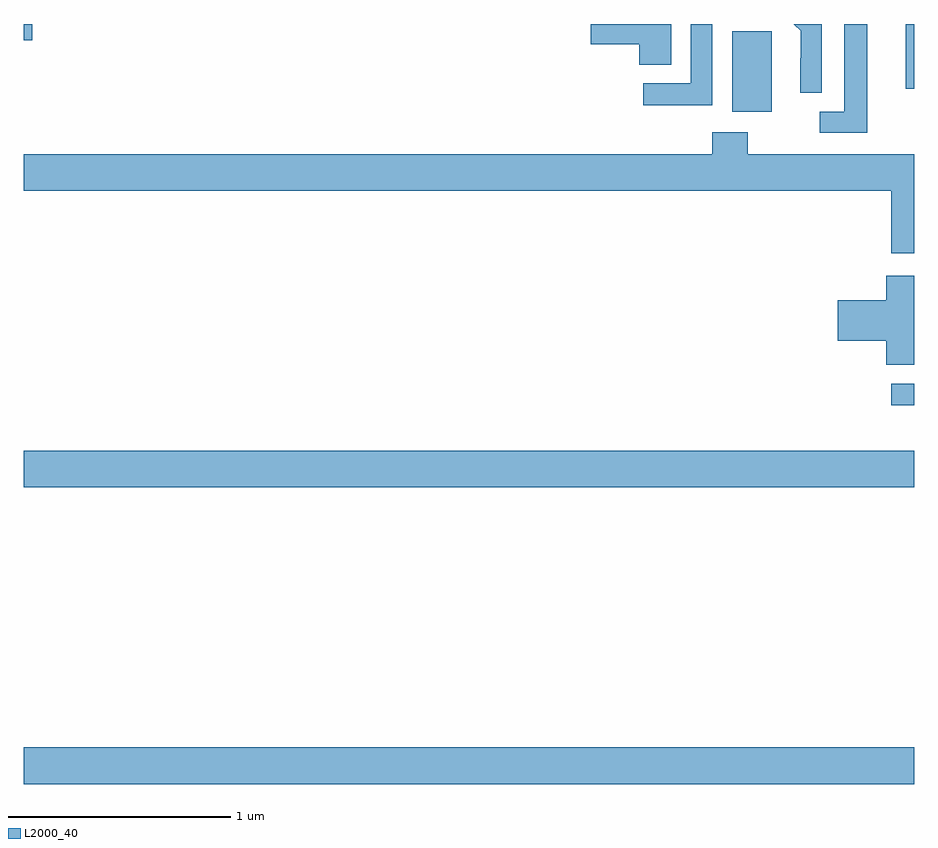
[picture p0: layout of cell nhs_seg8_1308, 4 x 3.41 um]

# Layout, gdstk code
import gdstk
lib = gdstk.Library(unit=1e-6, precision=1e-09)
def R(c, l, rs):  # rectangles x0, y0, x1, y1
    for r in rs: c.add(gdstk.rectangle(r[:2], r[2:], *l))
def P(c, l, *ps):  # polygons
    for p in ps: c.add(gdstk.Polygon(p, *l))
L2000_40 = (2000, 40)

nhs_seg8_1308 = lib.new_cell('nhs_seg8_1308')
R(nhs_seg8_1308, L2000_40, [(193,1128.488,197,1128.652), (193,1129.82,197,1129.984), (196.896,1130.189,197,1130.286), (196.181,1131.506,196.36,1131.867), (196.961,1131.609,197,1131.9), (193,1131.827,193.039,1131.9)])
P(nhs_seg8_1308, L2000_40, [(195.907,1131.9),(195.546,1131.9),(195.546,1131.809),(195.764,1131.809),(195.764,1131.718),(195.907,1131.718)],
  [(196.789,1131.9),(196.685,1131.9),(196.685,1131.507),(196.575,1131.507),(196.575,1131.411),(196.789,1131.411)],
  [(196.092,1131.9),(195.996,1131.9),(195.996,1131.633),(195.783,1131.633),(195.783,1131.535),(196.092,1131.535)],
  [(196.584,1131.9),(196.459,1131.9),(196.49,1131.869),(196.49,1131.746),(196.488,1131.746),(196.488,1131.592),(196.584,1131.592)],
  [(197,1131.316),(196.251,1131.316),(196.251,1131.415),(196.091,1131.415),(196.091,1131.316),(193,1131.316),(193,1131.152),(196.895,1131.152),(196.895,1130.871),(197,1130.871)],
  [(197,1130.77),(196.874,1130.77),(196.874,1130.66),(196.656,1130.66),(196.656,1130.477),(196.874,1130.477),(196.874,1130.371),(197,1130.371)])

lib.write_gds('nhs_seg8_1308.gds')
